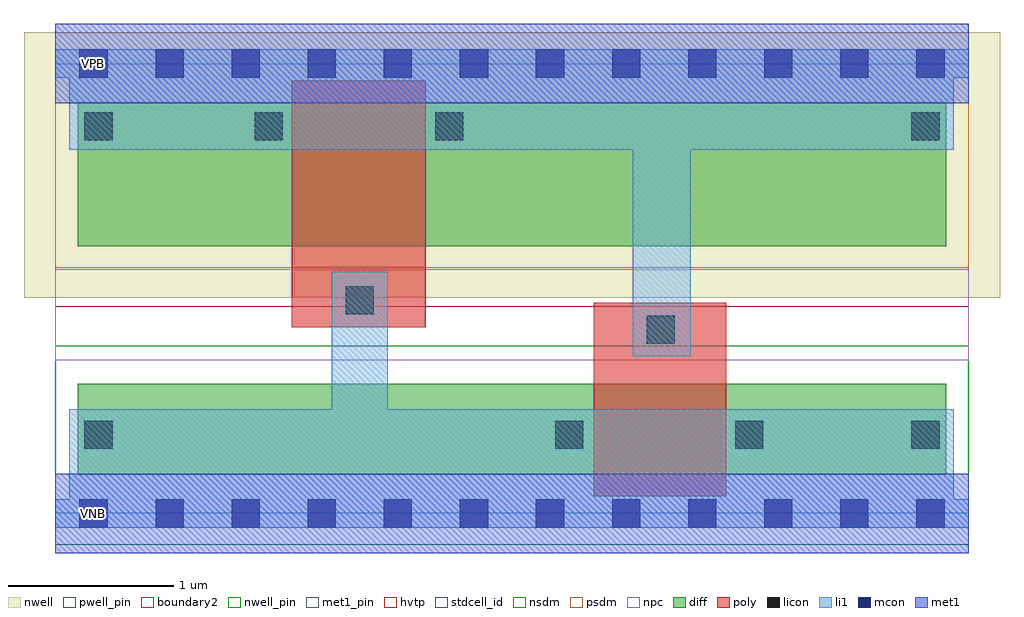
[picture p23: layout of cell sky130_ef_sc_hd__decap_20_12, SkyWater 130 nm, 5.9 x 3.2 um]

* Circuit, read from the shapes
.subckt sky130_ef_sc_hd__decap_20_12 VGND VNB VPB VPWR
XM1 VGND VPWR VGND VNB sky130_fd_pr__nfet_01v8 w=0.55 l=0.8
XM2 VPWR VGND VPWR VPB sky130_fd_pr__pfet_01v8_hvt w=0.87 l=0.81
.ends

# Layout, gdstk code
import gdstk
lib = gdstk.Library(unit=1e-6, precision=1e-09)
def R(c, l, rs):  # rectangles x0, y0, x1, y1
    for r in rs: c.add(gdstk.rectangle(r[:2], r[2:], *l))
def A(c, l, x, y, w, h, nx, ny, dx, dy):  # array of equal rectangles
    R(c, l, [(x+i*dx, y+j*dy, x+i*dx+w, y+j*dy+h) for i in range(nx) for j in range(ny)])
def P(c, l, *ps):  # polygons
    for p in ps: c.add(gdstk.Polygon(p, *l))
nwell_pin = (64, 16)
nwell = (64, 20)
diff = (65, 20)
poly = (66, 20)
licon = (66, 44)
li1 = (67, 20)
mcon = (67, 44)
met1_pin = (68, 16)
met1 = (68, 20)
hvtp = (78, 44)
stdcell_id = (81, 4)
nsdm = (93, 44)
psdm = (94, 20)
npc = (95, 20)
pwell_pin = (122, 16)
boundary2 = (236, 0)

sky130_ef_sc_hd__decap_2 = lib.new_cell('sky130_ef_sc_hd__decap_20_12')
R(sky130_ef_sc_hd__decap_2, nwell_pin, [(0.145,2.635,0.315,2.805)])
R(sky130_ef_sc_hd__decap_2, nwell, [(-0.19,1.305,5.71,2.91)])
R(sky130_ef_sc_hd__decap_2, diff, [(0.135,0.235,5.385,0.785), (0.135,1.615,5.385,2.485)])
P(sky130_ef_sc_hd__decap_2, poly, [(1.43,1.125),(1.43,2.615),(2.24,2.615),(2.24,1.395),(2.24,1.125)],
  [(3.255,0.105),(3.255,0.995),(3.255,1.275),(4.055,1.275),(4.055,0.105)])
R(sky130_ef_sc_hd__decap_2, licon, [(0.175,0.39,0.345,0.56), (3.02,0.39,3.19,0.56), (4.11,0.39,4.28,0.56), (5.175,0.39,5.345,0.56), (3.575,1.025,3.745,1.195), (1.755,1.205,1.925,1.375), (0.175,2.255,0.345,2.425), (1.205,2.255,1.375,2.425), (2.295,2.255,2.465,2.425), (5.175,2.255,5.345,2.425)])
R(sky130_ef_sc_hd__decap_2, li1, [(0,-0.085,5.52,0.085), (0.085,0.085,5.43,0.63), (1.67,0.63,2.01,1.46), (3.49,0.95,3.84,2.2), (0.085,2.2,5.43,2.635), (0,2.635,5.52,2.805)])
A(sky130_ef_sc_hd__decap_2, mcon, 0.145, -0.085, 0.17, 0.17, 12, 2, 0.46, 2.72)
R(sky130_ef_sc_hd__decap_2, met1_pin, [(0.145,-0.085,0.315,0.085), (0.145,2.635,0.315,2.805)])
R(sky130_ef_sc_hd__decap_2, hvtp, [(0,1.25,5.52,2.72)])
R(sky130_ef_sc_hd__decap_2, stdcell_id, [(0,0,5.52,2.72)])
R(sky130_ef_sc_hd__decap_2, nsdm, [(0,-0.19,5.52,1.015)])
R(sky130_ef_sc_hd__decap_2, psdm, [(0,1.485,5.52,2.91)])
R(sky130_ef_sc_hd__decap_2, npc, [(0,0.925,5.52,1.475)])
R(sky130_ef_sc_hd__decap_2, pwell_pin, [(0.145,-0.085,0.315,0.085)])
R(sky130_ef_sc_hd__decap_2, boundary2, [(0,0,5.52,2.72)])
sky130_ef_sc_hd__decap_2.add(gdstk.FlexPath([(0,2.72),(5.52,2.72)], 0.48, ends="flush", simple_path=True, layer=68, datatype=20))  # met1
sky130_ef_sc_hd__decap_2.add(gdstk.FlexPath([(0,0),(5.52,0)], 0.48, ends="flush", simple_path=True, layer=68, datatype=20))  # met1
sky130_ef_sc_hd__decap_2.add(gdstk.Label('VNB', (0.23,0), layer=64, texttype=59))
sky130_ef_sc_hd__decap_2.add(gdstk.Label('VPB', (0.23,2.72), layer=64, texttype=5))
sky130_ef_sc_hd__decap_2.add(gdstk.Label('VGND', (0.23,0), layer=68, texttype=5))
sky130_ef_sc_hd__decap_2.add(gdstk.Label('VPWR', (0.23,2.72), layer=68, texttype=5))
sky130_ef_sc_hd__decap_2.add(gdstk.Label('decap_20_12', (0,0), layer=83, texttype=44))

lib.write_gds('sky130_ef_sc_hd__decap_20_12.gds')
